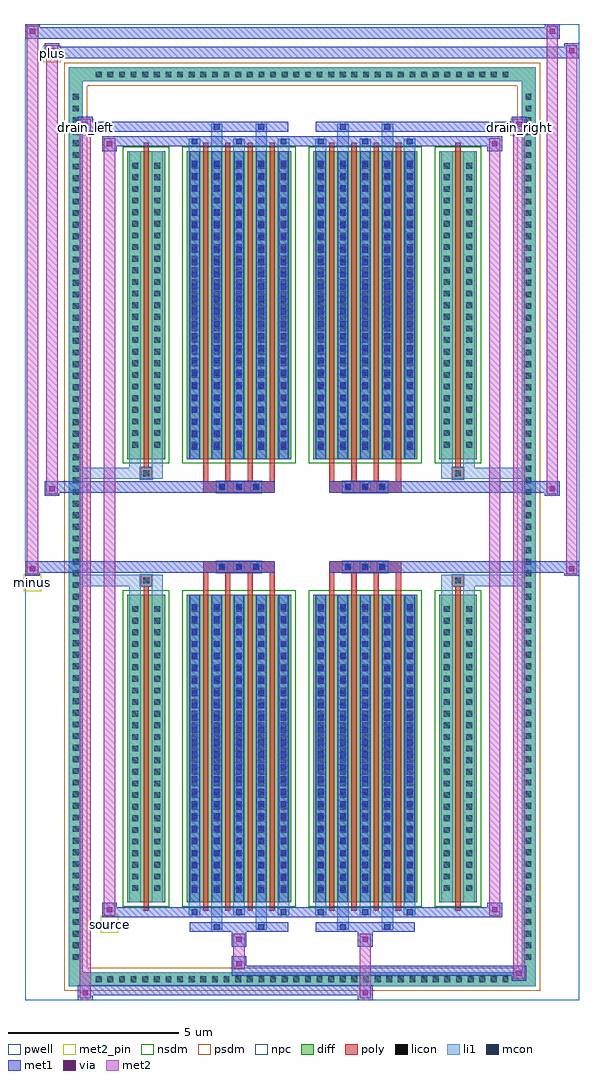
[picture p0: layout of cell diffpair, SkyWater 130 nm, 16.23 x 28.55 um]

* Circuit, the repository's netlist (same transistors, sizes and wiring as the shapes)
* NGSPICE file created from diffpair.ext - technology: sky130A

.subckt diffpair minus drain_right drain_left source plus
X0 drain_left plus source a_n1366_n2688# sky130_fd_pr__nfet_01v8 ad=2.25 pd=9.5 as=2.25 ps=9.5 w=9 l=0.15
X1 a_n1366_n2688# a_n1366_n2688# a_n1366_n2688# a_n1366_n2688# sky130_fd_pr__nfet_01v8 ad=4.275 pd=18.95 as=34.2 ps=151.6 w=9 l=0.15
X2 a_n1366_n2688# a_n1366_n2688# a_n1366_n2688# a_n1366_n2688# sky130_fd_pr__nfet_01v8 ad=4.275 pd=18.95 as=0 ps=0 w=9 l=0.15
X3 source plus drain_left a_n1366_n2688# sky130_fd_pr__nfet_01v8 ad=4.275 pd=18.95 as=2.25 ps=9.5 w=9 l=0.15
X4 a_n1366_n2688# a_n1366_n2688# a_n1366_n2688# a_n1366_n2688# sky130_fd_pr__nfet_01v8 ad=4.275 pd=18.95 as=0 ps=0 w=9 l=0.15
X5 drain_left plus source a_n1366_n2688# sky130_fd_pr__nfet_01v8 ad=2.25 pd=9.5 as=4.275 ps=18.95 w=9 l=0.15
X6 drain_right minus source a_n1366_n2688# sky130_fd_pr__nfet_01v8 ad=2.25 pd=9.5 as=2.25 ps=9.5 w=9 l=0.15
X7 a_n1366_n2688# a_n1366_n2688# a_n1366_n2688# a_n1366_n2688# sky130_fd_pr__nfet_01v8 ad=4.275 pd=18.95 as=0 ps=0 w=9 l=0.15
X8 source minus drain_right a_n1366_n2688# sky130_fd_pr__nfet_01v8 ad=2.25 pd=9.5 as=2.25 ps=9.5 w=9 l=0.15
X9 source plus drain_left a_n1366_n2688# sky130_fd_pr__nfet_01v8 ad=2.25 pd=9.5 as=2.25 ps=9.5 w=9 l=0.15
X10 drain_right minus source a_n1366_n2688# sky130_fd_pr__nfet_01v8 ad=2.25 pd=9.5 as=4.275 ps=18.95 w=9 l=0.15
X11 source minus drain_right a_n1366_n2688# sky130_fd_pr__nfet_01v8 ad=2.25 pd=9.5 as=2.25 ps=9.5 w=9 l=0.15
X12 source minus drain_right a_n1366_n2688# sky130_fd_pr__nfet_01v8 ad=4.275 pd=18.95 as=2.25 ps=9.5 w=9 l=0.15
X13 source plus drain_left a_n1366_n2688# sky130_fd_pr__nfet_01v8 ad=4.275 pd=18.95 as=2.25 ps=9.5 w=9 l=0.15
X14 drain_right minus source a_n1366_n2688# sky130_fd_pr__nfet_01v8 ad=2.25 pd=9.5 as=2.25 ps=9.5 w=9 l=0.15
X15 drain_left plus source a_n1366_n2688# sky130_fd_pr__nfet_01v8 ad=2.25 pd=9.5 as=4.275 ps=18.95 w=9 l=0.15
X16 drain_right minus source a_n1366_n2688# sky130_fd_pr__nfet_01v8 ad=2.25 pd=9.5 as=4.275 ps=18.95 w=9 l=0.15
X17 source plus drain_left a_n1366_n2688# sky130_fd_pr__nfet_01v8 ad=2.25 pd=9.5 as=2.25 ps=9.5 w=9 l=0.15
X18 drain_left plus source a_n1366_n2688# sky130_fd_pr__nfet_01v8 ad=2.25 pd=9.5 as=2.25 ps=9.5 w=9 l=0.15
X19 source minus drain_right a_n1366_n2688# sky130_fd_pr__nfet_01v8 ad=4.275 pd=18.95 as=2.25 ps=9.5 w=9 l=0.15
.ends

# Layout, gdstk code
import gdstk
lib = gdstk.Library(unit=1e-6, precision=5e-09)
def R(c, l, rs):  # rectangles x0, y0, x1, y1
    for r in rs: c.add(gdstk.rectangle(r[:2], r[2:], *l))
def A(c, l, x, y, w, h, nx, ny, dx, dy):  # array of equal rectangles
    R(c, l, [(x+i*dx, y+j*dy, x+i*dx+w, y+j*dy+h) for i in range(nx) for j in range(ny)])
def P(c, l, *ps):  # polygons
    for p in ps: c.add(gdstk.Polygon(p, *l))
pwell = (64, 44)
diff = (65, 20)
poly = (66, 20)
licon = (66, 44)
li1 = (67, 20)
mcon = (67, 44)
met1 = (68, 20)
via = (68, 44)
met2_pin = (69, 16)
met2 = (69, 20)
nsdm = (93, 44)
psdm = (94, 20)
npc = (95, 20)

diffpair = lib.new_cell('diffpair')
R(diffpair, pwell, [(-8.1,-13.84,8.1,14.71), (-5.42,-12.03,-0.01,-0.805), (0.01,-12.03,5.42,-0.805), (-5.42,0.805,-0.01,12.03), (0.01,0.805,5.42,12.03)])
A(diffpair, diff, -6.155, -13.44, 0.41, 0.41, 36, 2, 0.34, 26.47)
A(diffpair, diff, -6.83, -12.785, 0.41, 0.41, 1, 75, 0, 0.34)
A(diffpair, diff, 6.42, -12.785, 0.41, 0.41, 1, 75, 0, 0.34)
R(diffpair, diff, [(-6.155,-13.44,6.155,-13.03), (-6.83,-12.785,-6.42,12.785), (6.42,-12.785,6.83,12.785), (-5.11,-10.985,-4.01,-1.985), (-3.37,-10.985,-0.32,-1.985), (0.32,-10.985,3.37,-1.985), (4.01,-10.985,5.11,-1.985), (-5.11,1.985,-4.01,10.985), (-3.37,1.985,-0.32,10.985), (0.32,1.985,3.37,10.985), (4.01,1.985,5.11,10.985), (-6.155,13.03,6.155,13.44)])
P(diffpair, diff, [(6.83,13.44),(-6.83,13.44),(-6.83,-13.03),(-6.42,-13.03),(-6.42,13.03),(6.42,13.03),(6.42,-13.03),(-6.42,-13.03),(-6.83,-13.03),(-6.83,-13.44),(6.83,-13.44)])
A(diffpair, poly, -2.895, -11.235, 0.15, 9.5, 4, 2, 0.65, 12.97)
A(diffpair, poly, 0.795, -11.235, 0.15, 9.5, 4, 2, 0.65, 12.97)
A(diffpair, poly, -2.895, -1.735, 0.15, 0.4, 4, 2, 0.65, 3.07)
A(diffpair, poly, 0.795, -1.735, 0.15, 0.4, 4, 2, 0.65, 3.07)
A(diffpair, poly, -2.51, -1.335, 0.33, 0.33, 3, 2, 0.5, 2.34)
A(diffpair, poly, 1.18, -1.335, 0.33, 0.33, 3, 2, 0.5, 2.34)
R(diffpair, poly, [(-4.635,-11.235,-4.485,-1.735), (4.485,-11.235,4.635,-1.735), (-4.725,-1.735,-4.395,-1.405), (-4.725,-1.735,-4.395,-1.405), (4.395,-1.735,4.725,-1.405), (4.395,-1.735,4.725,-1.405), (-2.895,-1.335,-0.795,-1.005), (0.795,-1.335,2.895,-1.005), (-2.895,1.005,-0.795,1.335), (0.795,1.005,2.895,1.335), (-4.725,1.405,-4.395,1.735), (-4.725,1.405,-4.395,1.735), (4.395,1.405,4.725,1.735), (4.395,1.405,4.725,1.735), (-4.635,1.735,-4.485,11.235), (4.485,1.735,4.635,11.235)])
A(diffpair, licon, -6.035, -13.32, 0.17, 0.17, 36, 2, 0.34, 26.47)
A(diffpair, licon, -6.71, -12.665, 0.17, 0.17, 1, 75, 0, 0.34)
A(diffpair, licon, 6.54, -12.665, 0.17, 0.17, 1, 75, 0, 0.34)
A(diffpair, licon, -4.97, -10.65, 0.17, 0.17, 1, 25, 0, 0.34)
A(diffpair, licon, -4.32, -10.65, 0.17, 0.17, 1, 25, 0, 0.34)
A(diffpair, licon, -3.23, -10.65, 0.17, 0.17, 5, 25, 0.65, 0.34)
A(diffpair, licon, 0.46, -10.65, 0.17, 0.17, 5, 25, 0.65, 0.34)
A(diffpair, licon, 4.15, -10.65, 0.17, 0.17, 1, 25, 0, 0.34)
A(diffpair, licon, 4.8, -10.65, 0.17, 0.17, 1, 25, 0, 0.34)
A(diffpair, licon, -2.43, -1.255, 0.17, 0.17, 3, 2, 0.5, 2.34)
A(diffpair, licon, 1.26, -1.255, 0.17, 0.17, 3, 2, 0.5, 2.34)
A(diffpair, licon, -4.97, 2.32, 0.17, 0.17, 1, 25, 0, 0.34)
A(diffpair, licon, -4.32, 2.32, 0.17, 0.17, 1, 25, 0, 0.34)
A(diffpair, licon, -3.23, 2.32, 0.17, 0.17, 5, 25, 0.65, 0.34)
A(diffpair, licon, 0.46, 2.32, 0.17, 0.17, 5, 25, 0.65, 0.34)
A(diffpair, licon, 4.15, 2.32, 0.17, 0.17, 1, 25, 0, 0.34)
A(diffpair, licon, 4.8, 2.32, 0.17, 0.17, 1, 25, 0, 0.34)
R(diffpair, licon, [(-4.645,-1.655,-4.475,-1.485), (4.475,-1.655,4.645,-1.485), (-4.645,1.485,-4.475,1.655), (4.475,1.485,4.645,1.655)])
A(diffpair, li1, -6.115, -13.4, 0.33, 0.33, 36, 2, 0.34, 26.47)
A(diffpair, li1, -6.79, -12.745, 0.33, 0.33, 1, 75, 0, 0.34)
A(diffpair, li1, 6.46, -12.745, 0.33, 0.33, 1, 75, 0, 0.34)
A(diffpair, li1, -3.31, -11.36, 0.33, 0.375, 3, 2, 1.3, 22.345)
A(diffpair, li1, -3.23, -11.36, 0.17, 0.17, 3, 2, 1.3, 22.55)
A(diffpair, li1, 0.38, -11.36, 0.33, 0.375, 3, 2, 1.3, 22.345)
A(diffpair, li1, 0.46, -11.36, 0.17, 0.17, 3, 2, 1.3, 22.55)
A(diffpair, li1, -3.31, -10.985, 0.33, 9, 5, 2, 0.65, 12.97)
A(diffpair, li1, 0.38, -10.985, 0.33, 9, 5, 2, 0.65, 12.97)
A(diffpair, li1, -5.05, -10.73, 0.33, 0.33, 1, 25, 0, 0.34)
A(diffpair, li1, -4.4, -10.73, 0.33, 0.33, 1, 25, 0, 0.34)
A(diffpair, li1, -3.31, -10.73, 0.33, 0.33, 5, 25, 0.65, 0.34)
A(diffpair, li1, 0.38, -10.73, 0.33, 0.33, 5, 25, 0.65, 0.34)
A(diffpair, li1, 4.07, -10.73, 0.33, 0.33, 1, 25, 0, 0.34)
A(diffpair, li1, 4.72, -10.73, 0.33, 0.33, 1, 25, 0, 0.34)
A(diffpair, li1, -3.23, -10.71, 0.17, 0.17, 5, 24, 0.65, 0.36)
A(diffpair, li1, -3.23, -10.71, 0.17, 8.45, 5, 2, 0.65, 12.97)
A(diffpair, li1, 0.46, -10.71, 0.17, 0.17, 5, 24, 0.65, 0.36)
A(diffpair, li1, 0.46, -10.71, 0.17, 8.45, 5, 2, 0.65, 12.97)
A(diffpair, li1, -2.51, -1.335, 0.33, 0.33, 3, 2, 0.5, 2.34)
A(diffpair, li1, 1.18, -1.335, 0.33, 0.33, 3, 2, 0.5, 2.34)
A(diffpair, li1, -5.05, 2.24, 0.33, 0.33, 1, 25, 0, 0.34)
A(diffpair, li1, -4.4, 2.24, 0.33, 0.33, 1, 25, 0, 0.34)
A(diffpair, li1, -3.31, 2.24, 0.33, 0.33, 5, 25, 0.65, 0.34)
A(diffpair, li1, 0.38, 2.24, 0.33, 0.33, 5, 25, 0.65, 0.34)
A(diffpair, li1, 4.07, 2.24, 0.33, 0.33, 1, 25, 0, 0.34)
A(diffpair, li1, 4.72, 2.24, 0.33, 0.33, 1, 25, 0, 0.34)
A(diffpair, li1, -3.23, 2.26, 0.17, 0.17, 5, 24, 0.65, 0.36)
A(diffpair, li1, 0.46, 2.26, 0.17, 0.17, 5, 24, 0.65, 0.36)
R(diffpair, li1, [(-6.83,-13.44,-6.42,-13.03), (-6.83,-13.44,-6.42,-13.03), (-6.42,-13.44,6.42,-13.03), (6.42,-13.44,6.83,-13.03), (6.42,-13.44,6.83,-13.03), (-6.83,-13.03,-6.42,13.03), (6.42,-13.03,6.83,13.03), (-2.66,-11.79,-2.33,-10.985), (-2.58,-11.79,-2.41,-11.62), (-1.36,-11.79,-1.03,-10.985), (-1.28,-11.79,-1.11,-11.62), (1.03,-11.79,1.36,-10.985), (1.11,-11.79,1.28,-11.62), (2.33,-11.79,2.66,-10.985), (2.41,-11.79,2.58,-11.62), (-5.05,-10.985,-4.72,-1.985), (-4.4,-10.985,-4.07,-1.985), (4.07,-10.985,4.4,-1.985), (4.72,-10.985,5.05,-1.985), (-5.05,-1.985,-4.72,-1.405), (-4.4,-1.985,-4.07,-1.405), (4.07,-1.985,4.4,-1.405), (4.72,-1.985,5.05,-1.405), (-6.83,-1.735,-4.725,-1.405), (-5.05,-1.735,-4.725,-1.405), (-4.725,-1.735,-4.395,-1.405), (-4.395,-1.735,-4.07,-1.405), (4.07,-1.735,4.395,-1.405), (4.395,-1.735,4.725,-1.405), (4.395,-1.735,6.83,-1.405), (4.725,-1.735,5.05,-1.405), (-6.83,1.405,-4.725,1.735), (-5.05,1.405,-4.725,1.735), (-5.05,1.405,-4.72,1.985), (-4.725,1.405,-4.395,1.735), (-4.4,1.405,-4.07,1.985), (-4.395,1.405,-4.07,1.735), (4.07,1.405,4.395,1.735), (4.07,1.405,4.4,1.985), (4.395,1.405,4.725,1.735), (4.395,1.405,6.83,1.735), (4.72,1.405,5.05,1.985), (4.725,1.405,5.05,1.735), (-5.05,1.985,-4.72,10.985), (-4.4,1.985,-4.07,10.985), (4.07,1.985,4.4,10.985), (4.72,1.985,5.05,10.985), (-2.66,10.985,-2.33,11.79), (-1.36,10.985,-1.03,11.79), (1.03,10.985,1.36,11.79), (2.33,10.985,2.66,11.79), (-2.58,11.62,-2.41,11.79), (-1.28,11.62,-1.11,11.79), (1.11,11.62,1.28,11.79), (2.41,11.62,2.58,11.79), (-6.83,13.03,-6.42,13.44), (-6.83,13.03,-6.42,13.44), (-6.42,13.03,6.42,13.44), (6.42,13.03,6.83,13.44), (6.42,13.03,6.83,13.44)])
A(diffpair, mcon, -3.23, -11.36, 0.17, 0.17, 3, 2, 1.3, 22.55)
A(diffpair, mcon, 0.46, -11.36, 0.17, 0.17, 3, 2, 1.3, 22.55)
A(diffpair, mcon, -3.23, -10.71, 0.17, 0.17, 5, 24, 0.65, 0.36)
A(diffpair, mcon, 0.46, -10.71, 0.17, 0.17, 5, 24, 0.65, 0.36)
A(diffpair, mcon, -2.43, -1.255, 0.17, 0.17, 3, 2, 0.5, 2.34)
A(diffpair, mcon, 1.26, -1.255, 0.17, 0.17, 3, 2, 0.5, 2.34)
A(diffpair, mcon, -3.23, 2.26, 0.17, 0.17, 5, 24, 0.65, 0.36)
A(diffpair, mcon, 0.46, 2.26, 0.17, 0.17, 5, 24, 0.65, 0.36)
R(diffpair, mcon, [(-2.58,-11.79,-2.41,-11.62), (-1.28,-11.79,-1.11,-11.62), (1.11,-11.79,1.28,-11.62), (2.41,-11.79,2.58,-11.62), (-2.58,11.62,-2.41,11.79), (-1.28,11.62,-1.11,11.79), (1.11,11.62,1.28,11.79), (2.41,11.62,2.58,11.79)])
A(diffpair, met1, -3.29, -11.42, 0.29, 0.29, 3, 2, 1.3, 22.55)
A(diffpair, met1, 0.4, -11.42, 0.29, 0.29, 3, 2, 1.3, 22.55)
A(diffpair, met1, -3.29, -10.985, 0.29, 9, 5, 2, 0.65, 12.97)
A(diffpair, met1, 0.4, -10.985, 0.29, 9, 5, 2, 0.65, 12.97)
A(diffpair, met1, -3.29, -10.77, 0.29, 0.29, 5, 24, 0.65, 0.36)
A(diffpair, met1, 0.4, -10.77, 0.29, 0.29, 5, 24, 0.65, 0.36)
A(diffpair, met1, -2.49, -1.315, 0.29, 0.29, 3, 2, 0.5, 2.34)
A(diffpair, met1, 1.2, -1.315, 0.29, 0.29, 3, 2, 0.5, 2.34)
A(diffpair, met1, -3.29, 2.2, 0.29, 0.29, 5, 24, 0.65, 0.36)
A(diffpair, met1, 0.4, 2.2, 0.29, 0.29, 5, 24, 0.65, 0.36)
R(diffpair, met1, [(-6.56,-13.84,-6.13,-13.41), (1.63,-13.84,2.06,-13.41), (-6.56,-13.7,2.06,-13.41), (6.13,-13.27,6.56,-12.84), (-2.06,-13.13,6.56,-12.84), (-2.06,-12.99,-1.63,-12.56), (-2.06,-12.28,-1.63,-11.85), (1.63,-12.28,2.06,-11.85), (-3.29,-11.85,-0.4,-11.56), (-2.64,-11.85,-2.35,-11.56), (-1.34,-11.85,-1.05,-11.56), (0.4,-11.85,3.29,-11.56), (1.05,-11.85,1.34,-11.56), (2.35,-11.85,2.64,-11.56), (-5.85,-11.42,-5.42,-10.99), (-5.85,-11.42,-3.29,-11.13), (-3.29,-11.42,-0.4,-11.13), (-0.4,-11.42,0.4,-11.13), (0.4,-11.42,3.29,-11.13), (3.29,-11.42,5.85,-11.13), (5.42,-11.42,5.85,-10.99), (-8.1,-1.435,-7.67,-1.005), (7.67,-1.435,8.1,-1.005), (-8.1,-1.335,-0.795,-1.005), (-2.895,-1.335,-0.795,-1.005), (0.795,-1.335,2.895,-1.005), (0.795,-1.335,8.1,-1.005), (-7.53,0.905,-7.1,1.335), (7.1,0.905,7.53,1.335), (-7.53,1.005,-2.895,1.335), (-2.895,1.005,-0.795,1.335), (0.795,1.005,2.895,1.335), (2.895,1.005,7.53,1.335), (-5.85,10.99,-5.42,11.42), (5.42,10.99,5.85,11.42), (-5.85,11.13,-3.29,11.42), (-3.29,11.13,-0.4,11.42), (-0.4,11.13,0.4,11.42), (0.4,11.13,3.29,11.42), (3.29,11.13,5.85,11.42), (-6.56,11.56,-6.13,11.99), (-6.56,11.56,-3.29,11.85), (-3.29,11.56,-0.4,11.85), (-2.64,11.56,-2.35,11.85), (-1.34,11.56,-1.05,11.85), (0.4,11.56,3.29,11.85), (1.05,11.56,1.34,11.85), (2.35,11.56,2.64,11.85), (3.29,11.56,6.56,11.85), (6.13,11.56,6.56,11.99), (-7.53,13.71,-7.1,14.14), (-7.53,13.71,-5.42,14.04), (-5.42,13.71,5.42,14.04), (5.42,13.71,8.1,14.04), (7.67,13.71,8.1,14.14), (-8.1,14.28,-7.67,14.71), (-8.1,14.28,-5.42,14.61), (-5.42,14.28,5.42,14.61), (5.42,14.28,7.53,14.61), (7.1,14.28,7.53,14.71)])
R(diffpair, via, [(-6.42,-13.7,-6.27,-13.55), (1.77,-13.7,1.92,-13.55), (6.27,-13.13,6.42,-12.98), (-1.92,-12.85,-1.77,-12.7), (-1.92,-12.14,-1.77,-11.99), (1.77,-12.14,1.92,-11.99), (-5.71,-11.28,-5.56,-11.13), (5.56,-11.28,5.71,-11.13), (-7.96,-1.295,-7.81,-1.145), (7.81,-1.295,7.96,-1.145), (-7.39,1.045,-7.24,1.195), (7.24,1.045,7.39,1.195), (-5.71,11.13,-5.56,11.28), (5.56,11.13,5.71,11.28), (-6.42,11.7,-6.27,11.85), (6.27,11.7,6.42,11.85), (-7.39,13.85,-7.24,14), (7.81,13.85,7.96,14), (-7.96,14.42,-7.81,14.57), (7.24,14.42,7.39,14.57)])
R(diffpair, met2_pin, [(-5.885,-11.87,-5.385,-11.37), (-8.135,-1.885,-7.635,-1.385), (-6.595,11.44,-6.095,11.94), (6.095,11.44,6.595,11.94), (-7.565,13.59,-7.065,14.09)])
R(diffpair, met2, [(-6.51,-13.79,-6.18,-13.46), (-6.51,-13.79,-6.18,11.94), (1.68,-13.79,2.01,-13.46), (1.68,-13.46,2.01,-12.23), (6.18,-13.22,6.51,-12.89), (6.18,-13.22,6.51,11.94), (-2.01,-12.94,-1.68,-12.61), (-2.01,-12.61,-1.68,-12.23), (-2.01,-12.23,-1.68,-11.9), (1.68,-12.23,2.01,-11.9), (-5.8,-11.37,-5.47,-11.04), (-5.8,-11.37,-5.47,11.37), (5.47,-11.37,5.8,-11.04), (5.47,-11.37,5.8,11.37), (-8.05,-1.385,-7.72,-1.055), (-8.05,-1.385,-7.72,14.66), (7.72,-1.385,8.05,-1.055), (7.72,-1.385,8.05,14.09), (-7.48,0.955,-7.15,1.285), (-7.48,0.955,-7.15,14.09), (7.15,0.955,7.48,1.285), (7.15,0.955,7.48,14.66), (-5.8,11.04,-5.47,11.37), (5.47,11.04,5.8,11.37), (-6.51,11.61,-6.18,11.94), (6.18,11.61,6.51,11.94), (-7.48,13.76,-7.15,14.09), (7.72,13.76,8.05,14.09), (-8.05,14.33,-7.72,14.66), (7.15,14.33,7.48,14.66)])
P(diffpair, met2, [(8.05,-1.385),(8.05,-1.385),(8.05,-1.055),(8.05,-1.055)],
  [(8.05,13.76),(8.05,13.76),(8.05,14.09),(8.05,14.09)],
  [(-7.72,-1.385),(-7.72,-1.385),(-7.72,-1.055),(-7.72,-1.055)],
  [(-7.72,14.33),(-7.72,14.33),(-7.72,14.66),(-7.72,14.66)],
  [(7.48,0.955),(7.48,0.955),(7.48,1.285),(7.48,1.285)],
  [(7.48,14.33),(7.48,14.33),(7.48,14.66),(7.48,14.66)],
  [(-7.15,0.955),(-7.15,0.955),(-7.15,1.285),(-7.15,1.285)],
  [(-7.15,13.76),(-7.15,13.76),(-7.15,14.09),(-7.15,14.09)],
  [(-6.18,-13.79),(-6.18,-13.79),(-6.18,-13.46),(-6.18,-13.46)],
  [(-6.18,11.61),(-6.18,11.61),(-6.18,11.94),(-6.18,11.94)],
  [(6.51,-13.22),(6.51,-13.22),(6.51,-12.89),(6.51,-12.89)],
  [(6.51,11.61),(6.51,11.61),(6.51,11.94),(6.51,11.94)],
  [(-5.47,-11.37),(-5.47,-11.37),(-5.47,-11.04),(-5.47,-11.04)],
  [(-5.47,11.04),(-5.47,11.04),(-5.47,11.37),(-5.47,11.37)],
  [(5.8,-11.37),(5.8,-11.37),(5.8,-11.04),(5.8,-11.04)],
  [(5.8,11.04),(5.8,11.04),(5.8,11.37),(5.8,11.37)])
R(diffpair, nsdm, [(-5.24,-11.115,-3.88,-1.855), (-3.5,-11.115,-0.19,-1.855), (0.19,-11.115,3.5,-1.855), (3.88,-11.115,5.24,-1.855), (-5.24,1.855,-3.88,11.115), (-3.5,1.855,-0.19,11.115), (0.19,1.855,3.5,11.115), (3.88,1.855,5.24,11.115)])
P(diffpair, psdm, [(6.96,13.57),(-6.96,13.57),(-6.96,-12.9),(-6.29,-12.9),(-6.29,12.9),(6.29,12.9),(6.29,-12.9),(-6.29,-12.9),(-6.96,-12.9),(-6.96,-13.57),(6.96,-13.57)])
A(diffpair, npc, -2.53, -1.355, 0.37, 0.37, 3, 2, 0.5, 2.34)
A(diffpair, npc, 1.16, -1.355, 0.37, 0.37, 3, 2, 0.5, 2.34)
R(diffpair, npc, [(-4.745,-1.755,-4.375,-1.385), (4.375,-1.755,4.745,-1.385), (-2.53,-1.355,-1.66,-0.985), (-2.53,-1.355,-1.66,-0.985), (-2.03,-1.355,-1.16,-0.985), (-2.03,-1.355,-1.16,-0.985), (1.16,-1.355,2.03,-0.985), (1.16,-1.355,2.03,-0.985), (1.66,-1.355,2.53,-0.985), (1.66,-1.355,2.53,-0.985), (-2.53,0.985,-1.66,1.355), (-2.53,0.985,-1.66,1.355), (-2.03,0.985,-1.16,1.355), (-2.03,0.985,-1.16,1.355), (1.16,0.985,2.03,1.355), (1.16,0.985,2.03,1.355), (1.66,0.985,2.53,1.355), (1.66,0.985,2.53,1.355), (-4.745,1.385,-4.375,1.755), (4.375,1.385,4.745,1.755)])
diffpair.add(gdstk.Label('minus', (-7.885,-1.635), layer=69, texttype=5))
diffpair.add(gdstk.Label('drain_right', (6.345,11.69), layer=69, texttype=5))
diffpair.add(gdstk.Label('drain_left', (-6.345,11.69), layer=69, texttype=5))
diffpair.add(gdstk.Label('source', (-5.635,-11.62), layer=69, texttype=5))
diffpair.add(gdstk.Label('plus', (-7.315,13.84), layer=69, texttype=5))

lib.write_gds('diffpair.gds')
